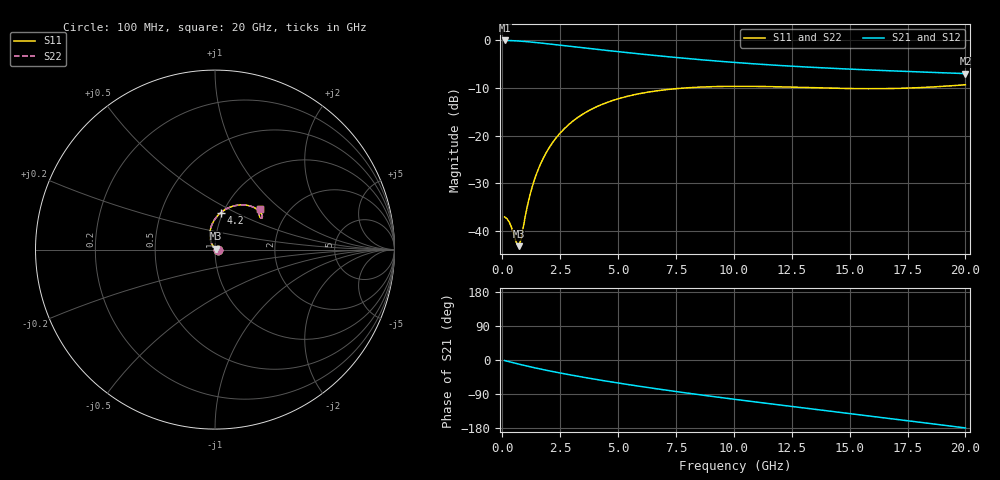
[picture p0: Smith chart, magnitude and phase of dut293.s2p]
! Created with skrf 1.9.0 (http://scikit-rf.org).
# GHz S RI R 50.0
!freq ReS11 ImS11 ReS21 ImS21 ReS12 ImS12 ReS22 ImS22
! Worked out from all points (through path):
!   200 points, 100 MHz to 20 GHz, reference 50 ohm
!   highest |S21| = -0.13 dB at 100 MHz (marker M1); lowest = -7.1 dB at 20 GHz (marker M2)
!   group delay of S21, straight-line fit = 23.5 ps
!   lowest |S11| = -43.1 dB at 700 MHz (marker M3), VSWR 1.01, Z = 50.4 + j0.587 ohm
!   |S11| at or under -10 dB: start of sweep to 8.06 GHz; 13.4 GHz to 17.93 GHz (4.532 GHz wide, 28.9 % of centre)
!   |S22| runs from -43.1 to -9.4 dB; largest |S21 - S12| = 2.2e-15
!   S11 on the Smith chart (normalised r, x): 100 MHz: 1.03, -0.00; 4.2 GHz: 0.98, +0.42; 20 GHz: 1.44, +0.75
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0.1  0.0141 -5.58e-05  0.985 -0.0263  0.985 -0.0263  0.0141 -5.58e-05
0.3  0.0124 0.00101  0.9797 -0.0792  0.9797 -0.0792  0.0124 0.00101
0.4  0.0108 0.00175  0.9753 -0.1052  0.9753 -0.1052  0.0108 0.00175
0.6  0.00651 0.0041  0.9631 -0.1556  0.9631 -0.1556  0.00651 0.0041
0.7  0.00387 0.00583  0.9555 -0.18  0.9555 -0.18  0.00387 0.00583
0.8  0.000991 0.00799  0.9469 -0.2037  0.9469 -0.2037  0.000991 0.00799
1  -0.00516 0.0137  0.9274 -0.249  0.9274 -0.249  -0.00516 0.0137
1.2  -0.0114 0.0213  0.905 -0.2913  0.905 -0.2913  -0.0114 0.0213
1.4  -0.0172 0.0308  0.8805 -0.3305  0.8805 -0.3305  -0.0172 0.0308
1.7  -0.0241 0.0478  0.8408 -0.3837  0.8408 -0.3837  -0.0241 0.0478
2.1  -0.0288 0.0743  0.7843 -0.4447  0.7843 -0.4447  -0.0288 0.0743
2.5  -0.0275 0.1026  0.7259 -0.4958  0.7259 -0.4958  -0.0275 0.1026
3  -0.0178 0.1374  0.652 -0.5477  0.652 -0.5477  -0.0178 0.1374
3.5  -0.000973 0.1688  0.5786 -0.5883  0.5786 -0.5883  -0.000973 0.1688
4.2  0.0307 0.2041  0.4782 -0.629  0.4782 -0.629  0.0307 0.2041
5.4  0.0933 0.2396  0.3166 -0.6635  0.3166 -0.6635  0.0933 0.2396
6.8  0.1606 0.2489  0.1504 -0.6622  0.1504 -0.6622  0.1606 0.2489
8.4  0.2167 0.235  -0.00799 -0.6251  -0.00799 -0.6251  0.2167 0.235
10.1  0.2504 0.2106  -0.1428 -0.5613  -0.1428 -0.5613  0.2504 0.2106
13.4  0.2621 0.1769  -0.3272 -0.3992  -0.3272 -0.3992  0.2621 0.1769
16.7  0.2478 0.186  -0.4277 -0.2074  -0.4277 -0.2074  0.2478 0.186
20  0.2512 0.2283  -0.444 -0.00541  -0.444 -0.00541  0.2512 0.2283
